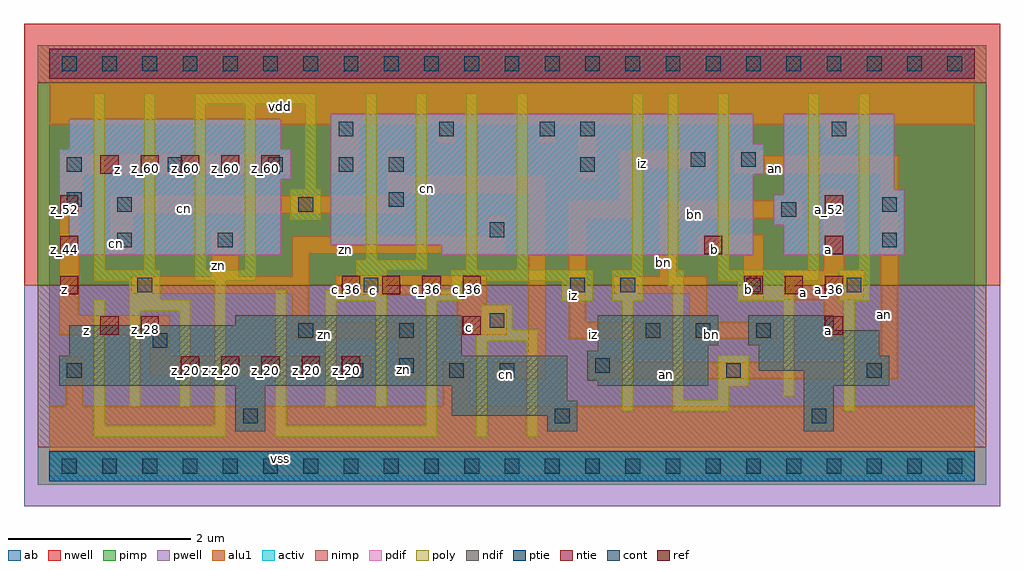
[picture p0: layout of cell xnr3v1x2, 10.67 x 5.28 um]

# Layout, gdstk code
import gdstk
lib = gdstk.Library(unit=1e-6, precision=2.5e-09)
def R(c, l, rs):  # rectangles x0, y0, x1, y1
    for r in rs: c.add(gdstk.rectangle(r[:2], r[2:], *l))
def A(c, l, x, y, w, h, nx, ny, dx, dy):  # array of equal rectangles
    R(c, l, [(x+i*dx, y+j*dy, x+i*dx+w, y+j*dy+h) for i in range(nx) for j in range(ny)])
ndif = (3, 0)
pdif = (4, 0)
ntie = (5, 0)
ptie = (6, 0)
ref = (24, 0)
cont = (25, 0)
pwell = (41, 0)
nwell = (42, 0)
activ = (43, 0)
pimp = (44, 0)
nimp = (45, 0)
poly = (46, 0)
alu1 = (49, 0)
ab = (63, 0)

xnr3v1x2 = lib.new_cell('xnr3v1x2')
R(xnr3v1x2, ndif, [(2.035,0.385,2.365,0.88), (5.445,0.385,5.775,0.55), (8.25,0.385,8.58,0.88), (4.4,0.55,5.775,0.715), (4.4,0.715,5.665,0.88), (0.11,0.88,5.665,1.21), (5.995,0.88,7.205,0.935), (8.25,0.88,9.185,1.045), (5.885,0.935,7.205,1.265), (7.755,1.045,9.185,1.21), (0.22,1.21,4.51,1.54), (7.755,1.21,9.075,1.32), (5.995,1.265,7.205,1.32), (5.995,1.32,7.315,1.65), (7.645,1.32,9.075,1.485), (7.645,1.485,8.58,1.65), (2.035,1.54,4.51,1.65)])
R(xnr3v1x2, pdif, [(0.22,2.31,2.53,2.75), (4.29,2.31,7.7,2.42), (8.03,2.31,9.35,2.64), (3.08,2.42,7.7,3.19), (7.92,2.64,9.35,2.97), (0.11,2.75,2.53,3.135), (8.03,2.97,9.35,3.025), (8.03,3.025,9.24,3.85), (0.11,3.135,2.64,3.465), (3.08,3.19,7.81,3.52), (0.22,3.465,2.53,3.795), (3.08,3.52,7.7,3.85)])
R(xnr3v1x2, ntie, [(0,4.235,10.12,4.565)])
R(xnr3v1x2, ptie, [(0,-0.165,10.12,0.165)])
A(xnr3v1x2, ref, 1.44, 1, 0.2, 0.2, 5, 1, 0.44, 0)
A(xnr3v1x2, ref, 0.12, 1.88, 0.2, 0.2, 1, 3, 0, 0.44)
A(xnr3v1x2, ref, 3.2, 1.88, 0.2, 0.2, 4, 1, 0.44, 0)
A(xnr3v1x2, ref, 7.6, 1.88, 0.2, 0.2, 3, 1, 0.44, 0)
A(xnr3v1x2, ref, 0.56, 3.2, 0.2, 0.2, 5, 1, 0.44, 0)
R(xnr3v1x2, ref, [(0.56,1.44,0.76,1.64), (1,1.44,1.2,1.64), (4.52,1.44,4.72,1.64), (8.48,1.44,8.68,1.64), (7.16,2.32,7.36,2.52), (8.48,2.32,8.68,2.52), (8.48,2.76,8.68,2.96)])
A(xnr3v1x2, cont, 0.14, -0.08, 0.16, 0.16, 23, 2, 0.44, 4.4)
A(xnr3v1x2, cont, 0.195, 3.22, 0.16, 0.16, 3, 1, 1.1, 0)
A(xnr3v1x2, cont, 3.165, 3.605, 0.16, 0.16, 3, 1, 1.1, 0)
R(xnr3v1x2, cont, [(2.12,0.47,2.28,0.63), (5.53,0.47,5.69,0.63), (8.335,0.47,8.495,0.63), (0.195,0.965,0.355,1.125), (3.275,0.965,3.435,1.125), (4.375,0.965,4.535,1.125), (4.925,0.965,5.085,1.125), (7.4,0.965,7.56,1.125), (8.94,0.965,9.1,1.125), (3.825,1.02,3.985,1.18), (5.97,1.02,6.13,1.18), (1.13,1.295,1.29,1.455), (2.725,1.405,2.885,1.565), (3.825,1.405,3.985,1.565), (6.52,1.405,6.68,1.565), (7.07,1.405,7.23,1.565), (7.73,1.405,7.89,1.565), (4.815,1.515,4.975,1.675), (0.965,1.9,1.125,2.06), (3.44,1.9,3.6,2.06), (5.695,1.9,5.855,2.06), (6.245,1.9,6.405,2.06), (7.62,1.9,7.78,2.06), (8.72,1.9,8.88,2.06), (0.745,2.395,0.905,2.555), (1.845,2.395,2.005,2.555), (9.105,2.395,9.265,2.555), (4.815,2.505,4.975,2.665), (8.005,2.725,8.165,2.885), (0.745,2.78,0.905,2.94), (2.725,2.78,2.885,2.94), (9.105,2.78,9.265,2.94), (0.195,2.835,0.355,2.995), (3.715,2.835,3.875,2.995), (3.165,3.22,3.325,3.38), (3.715,3.22,3.875,3.38), (5.805,3.22,5.965,3.38), (7.015,3.275,7.175,3.435), (7.565,3.275,7.725,3.435), (5.805,3.605,5.965,3.765), (8.555,3.605,8.715,3.765)])
R(xnr3v1x2, pwell, [(-0.275,-0.44,10.395,1.98)])
R(xnr3v1x2, nwell, [(-0.275,1.98,10.395,4.84)])
R(xnr3v1x2, activ, [(0,-0.165,10.12,0.165), (2.035,0.385,2.365,0.88), (5.445,0.385,5.775,0.55), (8.25,0.385,8.58,0.88), (4.4,0.55,5.775,0.715), (4.4,0.715,5.665,0.88), (0.11,0.88,5.665,1.21), (5.995,0.88,7.205,0.935), (8.25,0.88,9.185,1.045), (5.885,0.935,7.205,1.265), (7.755,1.045,9.185,1.21), (0.22,1.21,4.51,1.54), (7.755,1.21,9.075,1.32), (5.995,1.265,7.205,1.32), (5.995,1.32,7.315,1.65), (7.645,1.32,9.075,1.485), (7.645,1.485,8.58,1.65), (2.035,1.54,4.51,1.65), (0.22,2.31,2.53,2.75), (4.29,2.31,7.7,2.42), (8.03,2.31,9.35,2.64), (3.08,2.42,7.7,3.19), (7.92,2.64,9.35,2.97), (0.11,2.75,2.53,3.135), (8.03,2.97,9.35,3.025), (8.03,3.025,9.24,3.85), (0.11,3.135,2.64,3.465), (3.08,3.19,7.81,3.52), (0.22,3.465,2.53,3.795), (3.08,3.52,7.7,3.85), (0,4.235,10.12,4.565)])
R(xnr3v1x2, pimp, [(-0.125,-0.205,10.245,0.205), (-0.125,1.98,10.245,4.195)])
R(xnr3v1x2, nimp, [(-0.125,0.205,10.245,1.98), (-0.125,4.195,10.245,4.605)])
R(xnr3v1x2, poly, [(0.49,0.325,1.93,0.445), (2.47,0.325,4.24,0.445), (4.67,0.325,4.79,1.37), (5.22,0.325,5.34,1.37), (0.49,0.445,0.61,1.82), (1.81,0.445,1.93,2.03), (2.47,0.445,2.59,1.93), (4.12,0.445,4.24,1.81), (6.265,0.6,6.385,1.81), (6.815,0.6,7.43,0.72), (8.685,0.6,8.805,1.81), (0.875,0.655,0.995,1.7), (1.425,0.655,1.545,1.7), (3.02,0.655,3.14,1.81), (3.57,0.655,3.69,1.81), (6.815,0.72,6.935,1.975), (7.31,0.72,7.43,0.875), (8.025,0.765,8.145,1.81), (7.31,0.875,7.65,1.215), (4.67,1.37,5.34,1.49), (4.725,1.49,5.065,1.765), (0.875,1.7,1.545,1.82), (3.02,1.81,3.69,1.93), (4.12,1.81,4.515,1.93), (5.605,1.81,5.945,2.03), (6.155,1.81,6.495,2.15), (7.53,1.81,8.145,2.03), (8.63,1.81,8.97,2.15), (0.875,1.82,1.215,2.03), (3.35,1.93,3.69,2.14), (4.395,1.93,4.515,2.03), (6.76,1.975,6.935,2.15), (0.49,2.03,1.215,2.15), (1.59,2.03,2.26,2.15), (4.395,2.03,5.945,2.15), (7.31,2.03,8.42,2.15), (3.35,2.14,4.13,2.26), (0.49,2.15,0.61,4.075), (1.04,2.15,1.16,4.075), (1.59,2.15,1.71,3.955), (2.14,2.15,2.26,3.955), (4.56,2.15,4.68,4.075), (5.11,2.15,5.23,4.075), (6.375,2.15,6.495,4.075), (6.76,2.15,6.88,4.075), (7.31,2.15,7.43,4.075), (8.3,2.15,8.42,4.075), (8.85,2.15,8.97,4.075), (3.46,2.26,3.58,4.075), (4.01,2.26,4.13,4.075), (2.635,2.69,2.975,3.03), (2.8,3.03,2.92,3.955), (1.59,3.955,2.92,4.075)])
R(xnr3v1x2, alu1, [(0,-0.11,10.12,0.66), (0.18,0.66,0.37,1.195), (4.305,0.66,4.605,1.14), (3.19,0.935,3.52,0.99), (3.81,0.95,4.055,1.39), (4.855,0.95,5.43,1.14), (5.9,0.95,9.28,1.14), (1.1,0.99,3.52,1.21), (5.24,1.14,5.43,2.985), (5.9,1.14,6.2,1.195), (9.09,1.14,9.28,3.205), (1.1,1.21,1.32,1.43), (8.47,1.375,8.69,1.815), (2.655,1.39,4.055,1.58), (5.68,1.39,6.75,1.58), (7,1.39,7.96,1.58), (0.11,1.43,1.32,1.65), (4.455,1.43,5.005,1.76), (2.655,1.58,2.845,1.885), (5.68,1.58,5.87,2.71), (7,1.58,7.19,1.885), (0.11,1.65,0.33,2.765), (4.455,1.76,4.785,1.87), (7.59,1.815,7.81,2.31), (8.03,1.815,8.91,2.145), (3.135,1.87,4.785,2.09), (0.895,1.885,2.845,2.075), (6.175,1.885,7.19,2.075), (1.775,2.075,2.075,2.57), (2.655,2.075,2.845,2.325), (6.67,2.075,6.86,2.71), (8.47,2.145,8.69,3.025), (7.095,2.31,7.81,2.53), (0.675,2.325,0.92,2.765), (2.655,2.325,4.99,2.515), (4.8,2.515,4.99,2.735), (5.68,2.71,6.42,2.9), (6.67,2.71,8.235,2.9), (0.11,2.765,0.37,3.19), (0.675,2.765,3.89,2.955), (6.23,2.9,6.42,3.26), (3.7,2.955,3.89,2.985), (3.7,2.985,5.43,3.175), (5.79,3.15,5.98,3.74), (3.7,3.175,3.89,3.45), (0.11,3.19,2.64,3.41), (3.095,3.205,3.395,3.74), (7.495,3.205,9.28,3.395), (6.23,3.26,7.245,3.45), (7.495,3.395,7.795,3.45), (4.25,3.535,4.44,3.74), (5.35,3.535,5.54,3.74), (8.485,3.59,8.785,3.74), (0,3.74,10.12,4.51)])
R(xnr3v1x2, ab, [(0,0,10.12,4.4)])
xnr3v1x2.add(gdstk.Label('vss', (2.53,0.0825), layer=49, texttype=0))
xnr3v1x2.add(gdstk.Label('an', (6.745,0.9975), layer=49, texttype=0))
xnr3v1x2.add(gdstk.Label('an', (9.1375,1.655), layer=49, texttype=0))
xnr3v1x2.add(gdstk.Label('cn', (4.9975,0.9975), layer=49, texttype=0))
xnr3v1x2.add(gdstk.Label('a', (8.525,1.485), layer=49, texttype=0))
xnr3v1x2.add(gdstk.Label('bn', (7.24,1.4375), layer=49, texttype=0))
xnr3v1x2.add(gdstk.Label('iz', (5.9475,1.4375), layer=49, texttype=0))
xnr3v1x2.add(gdstk.Label('a', (8.25,1.8975), layer=49, texttype=0))
xnr3v1x2.add(gdstk.Label('a', (8.525,2.365), layer=49, texttype=0))
xnr3v1x2.add(gdstk.Label('b', (7.645,1.9375), layer=49, texttype=0))
xnr3v1x2.add(gdstk.Label('b', (7.2725,2.365), layer=49, texttype=0))
xnr3v1x2.add(gdstk.Label('bn', (6.7175,2.2325), layer=49, texttype=0))
xnr3v1x2.add(gdstk.Label('iz', (5.7275,1.8625), layer=49, texttype=0))
xnr3v1x2.add(gdstk.Label('bn', (7.06,2.7575), layer=49, texttype=0))
xnr3v1x2.add(gdstk.Label('an', (7.94,3.2525), layer=49, texttype=0))
xnr3v1x2.add(gdstk.Label('zn', (3.87,1.06), layer=49, texttype=0))
xnr3v1x2.add(gdstk.Label('z', (1.705,1.045), layer=49, texttype=0))
xnr3v1x2.add(gdstk.Label('c', (4.5925,1.5125), layer=49, texttype=0))
xnr3v1x2.add(gdstk.Label('zn', (3.005,1.4375), layer=49, texttype=0))
xnr3v1x2.add(gdstk.Label('c', (3.5475,1.925), layer=49, texttype=0))
xnr3v1x2.add(gdstk.Label('z', (0.4125,1.485), layer=49, texttype=0))
xnr3v1x2.add(gdstk.Label('zn', (3.2375,2.3725), layer=49, texttype=0))
xnr3v1x2.add(gdstk.Label('zn', (1.85,2.1975), layer=49, texttype=0))
xnr3v1x2.add(gdstk.Label('cn', (0.735,2.435), layer=49, texttype=0))
xnr3v1x2.add(gdstk.Label('z', (0.165,1.9275), layer=49, texttype=0))
xnr3v1x2.add(gdstk.Label('cn', (1.4775,2.8125), layer=49, texttype=0))
xnr3v1x2.add(gdstk.Label('iz', (6.4825,3.3075), layer=49, texttype=0))
xnr3v1x2.add(gdstk.Label('cn', (4.1325,3.0325), layer=49, texttype=0))
xnr3v1x2.add(gdstk.Label('z', (0.7425,3.245), layer=49, texttype=0))
xnr3v1x2.add(gdstk.Label('vdd', (2.53,3.9325), layer=49, texttype=0))
xnr3v1x2.add(gdstk.Label('c_36', (4.57,1.93), layer=24, texttype=0))
xnr3v1x2.add(gdstk.Label('c_28', (4.57,1.49), layer=24, texttype=0))
xnr3v1x2.add(gdstk.Label('c_36', (4.13,1.93), layer=24, texttype=0))
xnr3v1x2.add(gdstk.Label('c_36', (3.69,1.93), layer=24, texttype=0))
xnr3v1x2.add(gdstk.Label('c_36', (3.25,1.93), layer=24, texttype=0))
xnr3v1x2.add(gdstk.Label('z_20', (3.25,1.05), layer=24, texttype=0))
xnr3v1x2.add(gdstk.Label('z_20', (2.81,1.05), layer=24, texttype=0))
xnr3v1x2.add(gdstk.Label('z_60', (2.37,3.25), layer=24, texttype=0))
xnr3v1x2.add(gdstk.Label('z_20', (2.37,1.05), layer=24, texttype=0))
xnr3v1x2.add(gdstk.Label('z_52', (0.17,2.81), layer=24, texttype=0))
xnr3v1x2.add(gdstk.Label('z_44', (0.17,2.37), layer=24, texttype=0))
xnr3v1x2.add(gdstk.Label('z_36', (0.17,1.93), layer=24, texttype=0))
xnr3v1x2.add(gdstk.Label('z_60', (1.93,3.25), layer=24, texttype=0))
xnr3v1x2.add(gdstk.Label('z_20', (1.93,1.05), layer=24, texttype=0))
xnr3v1x2.add(gdstk.Label('z_60', (1.49,3.25), layer=24, texttype=0))
xnr3v1x2.add(gdstk.Label('z_20', (1.49,1.05), layer=24, texttype=0))
xnr3v1x2.add(gdstk.Label('z_60', (1.05,3.25), layer=24, texttype=0))
xnr3v1x2.add(gdstk.Label('z_28', (1.05,1.49), layer=24, texttype=0))
xnr3v1x2.add(gdstk.Label('a_52', (8.53,2.81), layer=24, texttype=0))
xnr3v1x2.add(gdstk.Label('a_44', (8.53,2.37), layer=24, texttype=0))
xnr3v1x2.add(gdstk.Label('a_36', (8.53,1.93), layer=24, texttype=0))
xnr3v1x2.add(gdstk.Label('a_28', (8.53,1.49), layer=24, texttype=0))
xnr3v1x2.add(gdstk.Label('a_36', (8.09,1.93), layer=24, texttype=0))
xnr3v1x2.add(gdstk.Label('b_36', (7.65,1.93), layer=24, texttype=0))
xnr3v1x2.add(gdstk.Label('b_44', (7.21,2.37), layer=24, texttype=0))
xnr3v1x2.add(gdstk.Label('z_60', (0.61,3.25), layer=24, texttype=0))
xnr3v1x2.add(gdstk.Label('z_28', (0.61,1.49), layer=24, texttype=0))

lib.write_gds('xnr3v1x2.gds')
